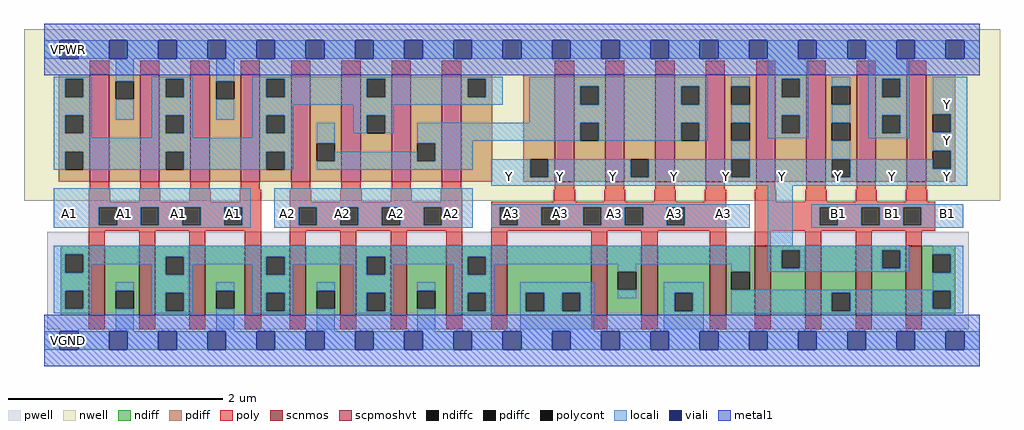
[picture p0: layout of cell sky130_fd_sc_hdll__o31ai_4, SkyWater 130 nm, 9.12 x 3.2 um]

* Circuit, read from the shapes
.subckt sky130_fd_sc_hdll__o31ai_4 A1 A2 A3 B1 VGND VNB VPB VPWR Y
XM1 VGND A1 n1 VNB sky130_fd_pr__nfet_01v8 w=0.65 l=0.15 m=4
XM2 VGND A2 n1 VNB sky130_fd_pr__nfet_01v8 w=0.65 l=0.15 m=4
XM3 VGND A3 n1 VNB sky130_fd_pr__nfet_01v8 w=0.65 l=0.15 m=4
XM4 Y B1 n1 VNB sky130_fd_pr__nfet_01v8 w=0.65 l=0.15 m=4
XM5 VPWR A1 n2 VPB sky130_fd_pr__pfet_01v8_hvt w=1 l=0.18 m=4
XM6 n3 A2 n2 VPB sky130_fd_pr__pfet_01v8_hvt w=1 l=0.18 m=4
XM7 n3 A3 Y VPB sky130_fd_pr__pfet_01v8_hvt w=1 l=0.18 m=4
XM8 VPWR B1 Y VPB sky130_fd_pr__pfet_01v8_hvt w=1 l=0.18 m=4
.ends

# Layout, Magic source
magic
tech sky130A
magscale 1 2
<< nwell >>
rect -38 261 1786 582
<< pwell >>
rect 5 21 1728 203
rect 29 -17 63 21
<< scnmos >>
rect 83 47 113 177
rect 177 47 207 177
rect 271 47 301 177
rect 375 47 405 177
rect 459 47 489 177
rect 553 47 583 177
rect 647 47 677 177
rect 751 47 781 177
rect 835 47 865 177
rect 1022 47 1052 177
rect 1116 47 1146 177
rect 1244 47 1274 177
rect 1328 47 1358 177
rect 1422 47 1452 177
rect 1516 47 1546 177
rect 1610 47 1640 177
<< scpmoshvt >>
rect 85 297 121 497
rect 179 297 215 497
rect 273 297 309 497
rect 367 297 403 497
rect 461 297 497 497
rect 555 297 591 497
rect 649 297 685 497
rect 743 297 779 497
rect 954 297 990 497
rect 1048 297 1084 497
rect 1142 297 1178 497
rect 1236 297 1272 497
rect 1330 297 1366 497
rect 1424 297 1460 497
rect 1518 297 1554 497
rect 1612 297 1648 497
<< ndiff >>
rect 31 161 83 177
rect 31 127 39 161
rect 73 127 83 161
rect 31 93 83 127
rect 31 59 39 93
rect 73 59 83 93
rect 31 47 83 59
rect 113 93 177 177
rect 113 59 133 93
rect 167 59 177 93
rect 113 47 177 59
rect 207 157 271 177
rect 207 123 227 157
rect 261 123 271 157
rect 207 89 271 123
rect 207 55 227 89
rect 261 55 271 89
rect 207 47 271 55
rect 301 93 375 177
rect 301 59 321 93
rect 355 59 375 93
rect 301 47 375 59
rect 405 157 459 177
rect 405 123 415 157
rect 449 123 459 157
rect 405 89 459 123
rect 405 55 415 89
rect 449 55 459 89
rect 405 47 459 55
rect 489 93 553 177
rect 489 59 509 93
rect 543 59 553 93
rect 489 47 553 59
rect 583 157 647 177
rect 583 123 603 157
rect 637 123 647 157
rect 583 89 647 123
rect 583 55 603 89
rect 637 55 647 89
rect 583 47 647 55
rect 677 93 751 177
rect 677 59 697 93
rect 731 59 751 93
rect 677 47 751 59
rect 781 157 835 177
rect 781 123 791 157
rect 825 123 835 157
rect 781 89 835 123
rect 781 55 791 89
rect 825 55 835 89
rect 781 47 835 55
rect 865 89 1022 177
rect 865 55 900 89
rect 934 55 968 89
rect 1002 55 1022 89
rect 865 47 1022 55
rect 1052 129 1116 177
rect 1052 95 1072 129
rect 1106 95 1116 129
rect 1052 47 1116 95
rect 1146 89 1244 177
rect 1146 55 1178 89
rect 1212 55 1244 89
rect 1146 47 1244 55
rect 1274 129 1328 177
rect 1274 95 1284 129
rect 1318 95 1328 129
rect 1274 47 1328 95
rect 1358 169 1422 177
rect 1358 135 1378 169
rect 1412 135 1422 169
rect 1358 47 1422 135
rect 1452 89 1516 177
rect 1452 55 1472 89
rect 1506 55 1516 89
rect 1452 47 1516 55
rect 1546 169 1610 177
rect 1546 135 1566 169
rect 1600 135 1610 169
rect 1546 47 1610 135
rect 1640 161 1702 177
rect 1640 127 1660 161
rect 1694 127 1702 161
rect 1640 93 1702 127
rect 1640 59 1660 93
rect 1694 59 1702 93
rect 1640 47 1702 59
<< pdiff >>
rect 27 489 85 497
rect 27 455 39 489
rect 73 455 85 489
rect 27 421 85 455
rect 27 387 39 421
rect 73 387 85 421
rect 27 353 85 387
rect 27 319 39 353
rect 73 319 85 353
rect 27 297 85 319
rect 121 485 179 497
rect 121 451 133 485
rect 167 451 179 485
rect 121 297 179 451
rect 215 489 273 497
rect 215 455 227 489
rect 261 455 273 489
rect 215 421 273 455
rect 215 387 227 421
rect 261 387 273 421
rect 215 353 273 387
rect 215 319 227 353
rect 261 319 273 353
rect 215 297 273 319
rect 309 485 367 497
rect 309 451 321 485
rect 355 451 367 485
rect 309 297 367 451
rect 403 489 461 497
rect 403 455 415 489
rect 449 455 461 489
rect 403 421 461 455
rect 403 387 415 421
rect 449 387 461 421
rect 403 353 461 387
rect 403 319 415 353
rect 449 319 461 353
rect 403 297 461 319
rect 497 369 555 497
rect 497 335 509 369
rect 543 335 555 369
rect 497 297 555 335
rect 591 489 649 497
rect 591 455 603 489
rect 637 455 649 489
rect 591 421 649 455
rect 591 387 603 421
rect 637 387 649 421
rect 591 297 649 387
rect 685 369 743 497
rect 685 335 697 369
rect 731 335 743 369
rect 685 297 743 335
rect 779 489 837 497
rect 779 455 791 489
rect 825 455 837 489
rect 779 297 837 455
rect 895 339 954 497
rect 895 305 908 339
rect 942 305 954 339
rect 895 297 954 305
rect 990 475 1048 497
rect 990 441 1002 475
rect 1036 441 1048 475
rect 990 407 1048 441
rect 990 373 1002 407
rect 1036 373 1048 407
rect 990 297 1048 373
rect 1084 339 1142 497
rect 1084 305 1096 339
rect 1130 305 1142 339
rect 1084 297 1142 305
rect 1178 475 1236 497
rect 1178 441 1190 475
rect 1224 441 1236 475
rect 1178 407 1236 441
rect 1178 373 1190 407
rect 1224 373 1236 407
rect 1178 297 1236 373
rect 1272 475 1330 497
rect 1272 441 1284 475
rect 1318 441 1330 475
rect 1272 407 1330 441
rect 1272 373 1284 407
rect 1318 373 1330 407
rect 1272 339 1330 373
rect 1272 305 1284 339
rect 1318 305 1330 339
rect 1272 297 1330 305
rect 1366 489 1424 497
rect 1366 455 1378 489
rect 1412 455 1424 489
rect 1366 421 1424 455
rect 1366 387 1378 421
rect 1412 387 1424 421
rect 1366 297 1424 387
rect 1460 475 1518 497
rect 1460 441 1472 475
rect 1506 441 1518 475
rect 1460 407 1518 441
rect 1460 373 1472 407
rect 1506 373 1518 407
rect 1460 339 1518 373
rect 1460 305 1472 339
rect 1506 305 1518 339
rect 1460 297 1518 305
rect 1554 489 1612 497
rect 1554 455 1566 489
rect 1600 455 1612 489
rect 1554 421 1612 455
rect 1554 387 1566 421
rect 1600 387 1612 421
rect 1554 297 1612 387
rect 1648 423 1702 497
rect 1648 389 1660 423
rect 1694 389 1702 423
rect 1648 355 1702 389
rect 1648 321 1660 355
rect 1694 321 1702 355
rect 1648 297 1702 321
<< ndiffc >>
rect 39 127 73 161
rect 39 59 73 93
rect 133 59 167 93
rect 227 123 261 157
rect 227 55 261 89
rect 321 59 355 93
rect 415 123 449 157
rect 415 55 449 89
rect 509 59 543 93
rect 603 123 637 157
rect 603 55 637 89
rect 697 59 731 93
rect 791 123 825 157
rect 791 55 825 89
rect 900 55 934 89
rect 968 55 1002 89
rect 1072 95 1106 129
rect 1178 55 1212 89
rect 1284 95 1318 129
rect 1378 135 1412 169
rect 1472 55 1506 89
rect 1566 135 1600 169
rect 1660 127 1694 161
rect 1660 59 1694 93
<< pdiffc >>
rect 39 455 73 489
rect 39 387 73 421
rect 39 319 73 353
rect 133 451 167 485
rect 227 455 261 489
rect 227 387 261 421
rect 227 319 261 353
rect 321 451 355 485
rect 415 455 449 489
rect 415 387 449 421
rect 415 319 449 353
rect 509 335 543 369
rect 603 455 637 489
rect 603 387 637 421
rect 697 335 731 369
rect 791 455 825 489
rect 908 305 942 339
rect 1002 441 1036 475
rect 1002 373 1036 407
rect 1096 305 1130 339
rect 1190 441 1224 475
rect 1190 373 1224 407
rect 1284 441 1318 475
rect 1284 373 1318 407
rect 1284 305 1318 339
rect 1378 455 1412 489
rect 1378 387 1412 421
rect 1472 441 1506 475
rect 1472 373 1506 407
rect 1472 305 1506 339
rect 1566 455 1600 489
rect 1566 387 1600 421
rect 1660 389 1694 423
rect 1660 321 1694 355
<< poly >>
rect 85 497 121 523
rect 179 497 215 523
rect 273 497 309 523
rect 367 497 403 523
rect 461 497 497 523
rect 555 497 591 523
rect 649 497 685 523
rect 743 497 779 523
rect 954 497 990 523
rect 1048 497 1084 523
rect 1142 497 1178 523
rect 1236 497 1272 523
rect 1330 497 1366 523
rect 1424 497 1460 523
rect 1518 497 1554 523
rect 1612 497 1648 523
rect 85 282 121 297
rect 179 282 215 297
rect 273 282 309 297
rect 367 282 403 297
rect 461 282 497 297
rect 555 282 591 297
rect 649 282 685 297
rect 743 282 779 297
rect 954 282 990 297
rect 1048 282 1084 297
rect 1142 282 1178 297
rect 1236 282 1272 297
rect 1330 282 1366 297
rect 1424 282 1460 297
rect 1518 282 1554 297
rect 1612 282 1648 297
rect 83 259 123 282
rect 177 259 217 282
rect 271 259 311 282
rect 365 259 405 282
rect 83 249 405 259
rect 83 215 102 249
rect 136 215 180 249
rect 214 215 258 249
rect 292 215 336 249
rect 370 215 405 249
rect 83 205 405 215
rect 83 177 113 205
rect 177 177 207 205
rect 271 177 301 205
rect 375 177 405 205
rect 459 259 499 282
rect 553 259 593 282
rect 647 259 687 282
rect 741 259 781 282
rect 952 259 992 282
rect 1046 259 1086 282
rect 1140 259 1180 282
rect 1234 259 1274 282
rect 459 249 781 259
rect 459 215 475 249
rect 509 215 553 249
rect 587 215 631 249
rect 665 215 709 249
rect 743 215 781 249
rect 459 205 781 215
rect 459 177 489 205
rect 553 177 583 205
rect 647 177 677 205
rect 751 177 781 205
rect 835 249 1274 259
rect 835 215 851 249
rect 885 215 929 249
rect 963 215 1007 249
rect 1041 215 1085 249
rect 1119 215 1163 249
rect 1197 215 1274 249
rect 835 205 1274 215
rect 835 177 865 205
rect 1022 177 1052 205
rect 1116 177 1146 205
rect 1244 177 1274 205
rect 1328 259 1368 282
rect 1422 259 1462 282
rect 1516 259 1556 282
rect 1610 259 1650 282
rect 1328 249 1665 259
rect 1328 215 1449 249
rect 1483 215 1527 249
rect 1561 215 1605 249
rect 1639 215 1665 249
rect 1328 205 1665 215
rect 1328 177 1358 205
rect 1422 177 1452 205
rect 1516 177 1546 205
rect 1610 177 1640 205
rect 83 21 113 47
rect 177 21 207 47
rect 271 21 301 47
rect 375 21 405 47
rect 459 21 489 47
rect 553 21 583 47
rect 647 21 677 47
rect 751 21 781 47
rect 835 21 865 47
rect 1022 21 1052 47
rect 1116 21 1146 47
rect 1244 21 1274 47
rect 1328 21 1358 47
rect 1422 21 1452 47
rect 1516 21 1546 47
rect 1610 21 1640 47
<< polycont >>
rect 102 215 136 249
rect 180 215 214 249
rect 258 215 292 249
rect 336 215 370 249
rect 475 215 509 249
rect 553 215 587 249
rect 631 215 665 249
rect 709 215 743 249
rect 851 215 885 249
rect 929 215 963 249
rect 1007 215 1041 249
rect 1085 215 1119 249
rect 1163 215 1197 249
rect 1449 215 1483 249
rect 1527 215 1561 249
rect 1605 215 1639 249
<< locali >>
rect 0 527 29 561
rect 63 527 121 561
rect 155 527 213 561
rect 247 527 305 561
rect 339 527 397 561
rect 431 527 489 561
rect 523 527 581 561
rect 615 527 673 561
rect 707 527 765 561
rect 799 527 857 561
rect 891 527 949 561
rect 983 527 1041 561
rect 1075 527 1133 561
rect 1167 527 1225 561
rect 1259 527 1317 561
rect 1351 527 1409 561
rect 1443 527 1501 561
rect 1535 527 1593 561
rect 1627 527 1685 561
rect 1719 527 1748 561
rect 18 489 89 493
rect 18 455 39 489
rect 73 455 89 489
rect 18 421 89 455
rect 18 387 39 421
rect 73 387 89 421
rect 133 485 167 527
rect 133 413 167 451
rect 201 489 277 493
rect 201 455 227 489
rect 261 455 277 489
rect 201 421 277 455
rect 18 379 89 387
rect 201 387 227 421
rect 261 387 277 421
rect 321 485 355 527
rect 321 413 355 451
rect 389 489 857 493
rect 389 455 415 489
rect 449 455 603 489
rect 637 455 791 489
rect 825 455 857 489
rect 389 441 857 455
rect 906 475 1240 493
rect 906 441 1002 475
rect 1036 441 1190 475
rect 1224 441 1240 475
rect 389 421 465 441
rect 201 379 277 387
rect 389 387 415 421
rect 449 387 465 421
rect 577 421 653 441
rect 389 379 465 387
rect 18 353 465 379
rect 18 319 39 353
rect 73 319 227 353
rect 261 319 415 353
rect 449 319 465 353
rect 509 369 543 407
rect 577 387 603 421
rect 637 387 653 421
rect 906 407 1240 441
rect 697 373 1002 407
rect 1036 373 1190 407
rect 1224 373 1240 407
rect 1284 475 1318 493
rect 1284 407 1318 441
rect 1352 489 1428 527
rect 1352 455 1378 489
rect 1412 455 1428 489
rect 1352 421 1428 455
rect 1352 387 1378 421
rect 1412 387 1428 421
rect 1352 378 1428 387
rect 1472 475 1506 493
rect 1472 407 1506 441
rect 697 369 801 373
rect 543 335 697 353
rect 731 335 801 369
rect 1284 339 1318 373
rect 1540 489 1616 527
rect 1540 455 1566 489
rect 1600 455 1616 489
rect 1540 421 1616 455
rect 1540 387 1566 421
rect 1600 387 1616 421
rect 1540 378 1616 387
rect 1660 423 1725 493
rect 1694 389 1725 423
rect 1472 339 1506 373
rect 1660 355 1725 389
rect 509 319 801 335
rect 835 305 908 339
rect 942 305 1096 339
rect 1130 305 1284 339
rect 1318 305 1472 339
rect 1506 321 1660 339
rect 1694 321 1725 355
rect 1506 305 1725 321
rect 835 289 1725 305
rect 18 249 386 285
rect 18 215 102 249
rect 136 215 180 249
rect 214 215 258 249
rect 292 215 336 249
rect 370 215 386 249
rect 18 211 386 215
rect 430 249 801 285
rect 430 215 475 249
rect 509 215 553 249
rect 587 215 631 249
rect 665 215 709 249
rect 743 215 801 249
rect 430 211 801 215
rect 835 249 1318 255
rect 835 215 851 249
rect 885 215 929 249
rect 963 215 1007 249
rect 1041 215 1085 249
rect 1119 215 1163 249
rect 1197 215 1318 249
rect 835 211 1318 215
rect 1352 177 1399 289
rect 1433 249 1717 255
rect 1433 215 1449 249
rect 1483 215 1527 249
rect 1561 215 1605 249
rect 1639 215 1717 249
rect 1433 211 1717 215
rect 18 161 1318 177
rect 18 127 39 161
rect 73 157 1318 161
rect 73 143 227 157
rect 73 127 89 143
rect 18 93 89 127
rect 201 123 227 143
rect 261 143 415 157
rect 261 123 277 143
rect 18 59 39 93
rect 73 59 89 93
rect 18 51 89 59
rect 133 93 167 109
rect 133 17 167 59
rect 201 89 277 123
rect 389 123 415 143
rect 449 143 603 157
rect 449 123 465 143
rect 201 55 227 89
rect 261 55 277 89
rect 201 51 277 55
rect 321 93 355 109
rect 321 17 355 59
rect 389 89 465 123
rect 577 123 603 143
rect 637 143 791 157
rect 637 123 653 143
rect 389 55 415 89
rect 449 55 465 89
rect 389 51 465 55
rect 509 93 543 109
rect 509 17 543 59
rect 577 89 653 123
rect 765 123 791 143
rect 825 143 1318 157
rect 825 123 841 143
rect 577 55 603 89
rect 637 55 653 89
rect 577 51 653 55
rect 697 93 731 109
rect 697 17 731 59
rect 765 89 841 123
rect 1072 129 1106 143
rect 765 55 791 89
rect 825 55 841 89
rect 765 51 841 55
rect 889 89 1028 109
rect 889 55 900 89
rect 934 55 968 89
rect 1002 55 1028 89
rect 1284 129 1318 143
rect 1352 169 1616 177
rect 1352 135 1378 169
rect 1412 135 1566 169
rect 1600 135 1616 169
rect 1352 129 1616 135
rect 1660 161 1717 177
rect 1072 79 1106 95
rect 1158 89 1232 109
rect 889 17 1028 55
rect 1158 55 1178 89
rect 1212 55 1232 89
rect 1158 17 1232 55
rect 1694 127 1717 161
rect 1660 95 1717 127
rect 1284 93 1717 95
rect 1284 89 1660 93
rect 1284 55 1472 89
rect 1506 59 1660 89
rect 1694 59 1717 93
rect 1506 55 1717 59
rect 1284 51 1717 55
rect 0 -17 29 17
rect 63 -17 121 17
rect 155 -17 213 17
rect 247 -17 305 17
rect 339 -17 397 17
rect 431 -17 489 17
rect 523 -17 581 17
rect 615 -17 673 17
rect 707 -17 765 17
rect 799 -17 857 17
rect 891 -17 949 17
rect 983 -17 1041 17
rect 1075 -17 1133 17
rect 1167 -17 1225 17
rect 1259 -17 1317 17
rect 1351 -17 1409 17
rect 1443 -17 1501 17
rect 1535 -17 1593 17
rect 1627 -17 1685 17
rect 1719 -17 1748 17
<< viali >>
rect 29 527 63 561
rect 121 527 155 561
rect 213 527 247 561
rect 305 527 339 561
rect 397 527 431 561
rect 489 527 523 561
rect 581 527 615 561
rect 673 527 707 561
rect 765 527 799 561
rect 857 527 891 561
rect 949 527 983 561
rect 1041 527 1075 561
rect 1133 527 1167 561
rect 1225 527 1259 561
rect 1317 527 1351 561
rect 1409 527 1443 561
rect 1501 527 1535 561
rect 1593 527 1627 561
rect 1685 527 1719 561
rect 29 -17 63 17
rect 121 -17 155 17
rect 213 -17 247 17
rect 305 -17 339 17
rect 397 -17 431 17
rect 489 -17 523 17
rect 581 -17 615 17
rect 673 -17 707 17
rect 765 -17 799 17
rect 857 -17 891 17
rect 949 -17 983 17
rect 1041 -17 1075 17
rect 1133 -17 1167 17
rect 1225 -17 1259 17
rect 1317 -17 1351 17
rect 1409 -17 1443 17
rect 1501 -17 1535 17
rect 1593 -17 1627 17
rect 1685 -17 1719 17
<< metal1 >>
rect 0 561 1748 592
rect 0 527 29 561
rect 63 527 121 561
rect 155 527 213 561
rect 247 527 305 561
rect 339 527 397 561
rect 431 527 489 561
rect 523 527 581 561
rect 615 527 673 561
rect 707 527 765 561
rect 799 527 857 561
rect 891 527 949 561
rect 983 527 1041 561
rect 1075 527 1133 561
rect 1167 527 1225 561
rect 1259 527 1317 561
rect 1351 527 1409 561
rect 1443 527 1501 561
rect 1535 527 1593 561
rect 1627 527 1685 561
rect 1719 527 1748 561
rect 0 496 1748 527
rect 0 17 1748 48
rect 0 -17 29 17
rect 63 -17 121 17
rect 155 -17 213 17
rect 247 -17 305 17
rect 339 -17 397 17
rect 431 -17 489 17
rect 523 -17 581 17
rect 615 -17 673 17
rect 707 -17 765 17
rect 799 -17 857 17
rect 891 -17 949 17
rect 983 -17 1041 17
rect 1075 -17 1133 17
rect 1167 -17 1225 17
rect 1259 -17 1317 17
rect 1351 -17 1409 17
rect 1443 -17 1501 17
rect 1535 -17 1593 17
rect 1627 -17 1685 17
rect 1719 -17 1748 17
rect 0 -48 1748 -17
<< labels >>
flabel locali s 1049 221 1083 255 0 FreeSans 200 0 0 0 A3
port 3 nsew signal input
flabel locali s 947 221 981 255 0 FreeSans 200 0 0 0 A3
port 3 nsew signal input
flabel locali s 856 221 890 255 0 FreeSans 200 0 0 0 A3
port 3 nsew signal input
flabel locali s 1253 221 1287 255 0 FreeSans 200 0 0 0 A3
port 3 nsew signal input
flabel locali s 744 221 778 255 0 FreeSans 200 0 0 0 A2
port 2 nsew signal input
flabel locali s 642 221 676 255 0 FreeSans 200 0 0 0 A2
port 2 nsew signal input
flabel locali s 540 221 574 255 0 FreeSans 200 0 0 0 A2
port 2 nsew signal input
flabel locali s 438 221 472 255 0 FreeSans 200 0 0 0 A2
port 2 nsew signal input
flabel locali s 336 221 370 255 0 FreeSans 200 0 0 0 A1
port 1 nsew signal input
flabel locali s 234 221 268 255 0 FreeSans 200 0 0 0 A1
port 1 nsew signal input
flabel locali s 132 221 166 255 0 FreeSans 200 0 0 0 A1
port 1 nsew signal input
flabel locali s 30 221 64 255 0 FreeSans 200 0 0 0 A1
port 1 nsew signal input
flabel locali s 853 289 887 323 0 FreeSans 200 0 0 0 Y
port 9 nsew signal output
flabel locali s 947 289 981 323 0 FreeSans 200 0 0 0 Y
port 9 nsew signal output
flabel locali s 1047 289 1081 323 0 FreeSans 200 0 0 0 Y
port 9 nsew signal output
flabel locali s 1161 289 1195 323 0 FreeSans 200 0 0 0 Y
port 9 nsew signal output
flabel locali s 1362 289 1396 323 0 FreeSans 200 0 0 0 Y
port 9 nsew signal output
flabel locali s 1467 289 1501 323 0 FreeSans 200 0 0 0 Y
port 9 nsew signal output
flabel locali s 1569 289 1603 323 0 FreeSans 200 0 0 0 Y
port 9 nsew signal output
flabel locali s 1671 425 1705 459 0 FreeSans 200 0 0 0 Y
port 9 nsew signal output
flabel locali s 1671 357 1705 391 0 FreeSans 200 0 0 0 Y
port 9 nsew signal output
flabel locali s 1467 221 1501 255 0 FreeSans 200 0 0 0 B1
port 4 nsew signal input
flabel locali s 1569 221 1603 255 0 FreeSans 200 0 0 0 B1
port 4 nsew signal input
flabel locali s 1671 289 1705 323 0 FreeSans 200 0 0 0 Y
port 9 nsew signal output
flabel locali s 1671 221 1705 255 0 FreeSans 200 0 0 0 B1
port 4 nsew signal input
flabel locali s 1161 221 1195 255 0 FreeSans 200 0 0 0 A3
port 3 nsew signal input
flabel locali s 1258 289 1292 323 0 FreeSans 200 0 0 0 Y
port 9 nsew signal output
flabel metal1 s 29 -17 63 17 0 FreeSans 200 0 0 0 VGND
port 5 nsew ground bidirectional
flabel metal1 s 29 527 63 561 0 FreeSans 200 0 0 0 VPWR
port 8 nsew power bidirectional
flabel nwell s 29 527 63 561 0 FreeSans 200 0 0 0 VPB
port 7 nsew power bidirectional
flabel pwell s 29 -17 63 17 0 FreeSans 200 0 0 0 VNB
port 6 nsew ground bidirectional
rlabel comment s 0 0 0 0 4 o31ai_4
<< properties >>
string LEFsite unithd
string LEFclass CORE
string FIXED_BBOX 0 0 1748 544
string GDS_FILE $PDKPATH/libs.ref/sky130_fd_sc_hdll/gds/sky130_fd_sc_hdll.gds
string LEFsymmetry X Y R90
string GDS_END 621458
string GDS_START 606458
string LEFproperties maskLayoutSubType "abstract" prCellType "standard" originalViewName "layout"
<< end >>
